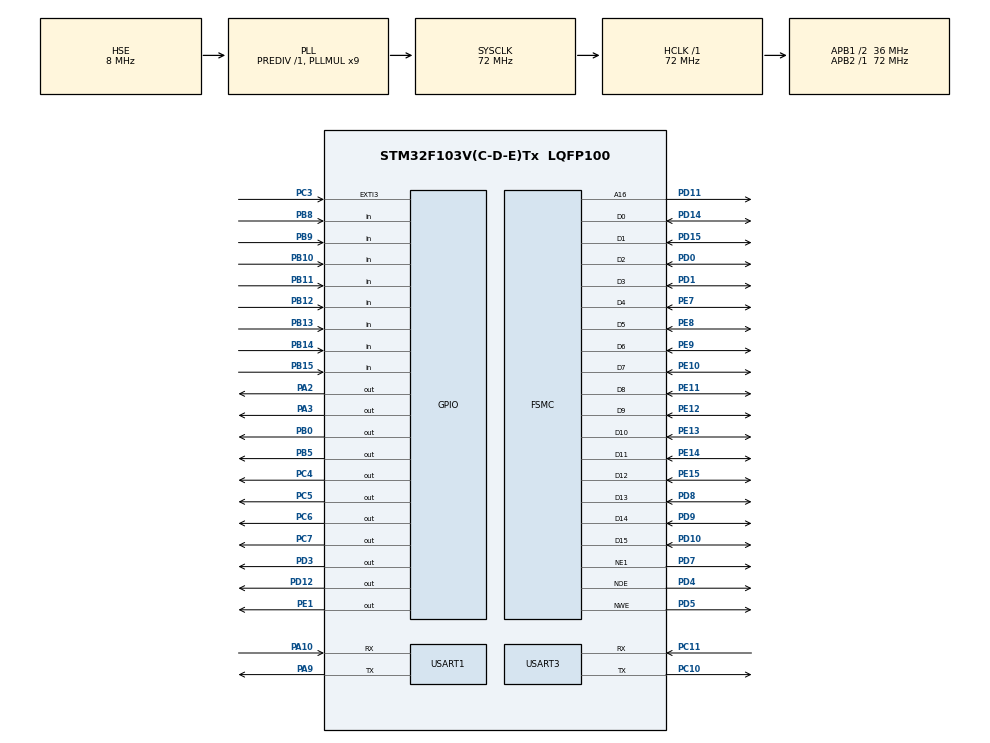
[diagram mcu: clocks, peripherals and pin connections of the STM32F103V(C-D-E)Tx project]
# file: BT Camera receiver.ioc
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Mcu.Family=STM32F1
Mcu.Name=STM32F103V(C-D-E)Tx
Mcu.Package=LQFP100
NVIC.EXTI3_IRQn=true\:0\:0\:false\:false\:true\:true\:true\:true
NVIC.PriorityGroup=NVIC_PRIORITYGROUP_4
OSC_IN.Mode=HSE-External-Oscillator
OSC_IN.Signal=RCC_OSC_IN
OSC_OUT.Mode=HSE-External-Oscillator
OSC_OUT.Signal=RCC_OSC_OUT
PA10.Mode=Asynchronous
PA10.Signal=USART1_RX
PA13.Mode=Serial_Wire
PA13.Signal=SYS_JTMS-SWDIO
PA14.Mode=Serial_Wire
PA14.Signal=SYS_JTCK-SWCLK
PA2.GPIO_Speed=GPIO_SPEED_FREQ_HIGH
PA2.Signal=GPIO_Output
PA3.GPIO_Speed=GPIO_SPEED_FREQ_HIGH
PA3.Signal=GPIO_Output
PA9.Mode=Asynchronous
PA9.Signal=USART1_TX
PB0.GPIO_Speed=GPIO_SPEED_FREQ_HIGH
PB0.Signal=GPIO_Output
PB10.Signal=GPIO_Input
PB11.Signal=GPIO_Input
PB12.Signal=GPIO_Input
PB13.Signal=GPIO_Input
PB14.Signal=GPIO_Input
PB15.Signal=GPIO_Input
PB5.GPIO_Speed=GPIO_SPEED_FREQ_HIGH
PB5.PinState=GPIO_PIN_SET
PB5.Signal=GPIO_Output
PB8.Signal=GPIO_Input
PB9.Signal=GPIO_Input
PC10.Mode=Asynchronous
PC10.Signal=USART3_TX
PC11.Mode=Asynchronous
PC11.Signal=USART3_RX
PC14-OSC32_IN.Mode=LSE-External-Oscillator
PC14-OSC32_IN.Signal=RCC_OSC32_IN
PC15-OSC32_OUT.Mode=LSE-External-Oscillator
PC15-OSC32_OUT.Signal=RCC_OSC32_OUT
PC3.GPIO_ModeDefaultEXTI=GPIO_MODE_IT_FALLING
PC3.Signal=GPXTI3
PC4.GPIO_Speed=GPIO_SPEED_FREQ_HIGH
PC4.Signal=GPIO_Output
PC5.GPIO_Speed=GPIO_SPEED_FREQ_HIGH
PC5.Signal=GPIO_Output
PC6.GPIO_ModeDefaultOutputPP=GPIO_MODE_OUTPUT_OD
PC6.GPIO_PuPd=GPIO_NOPULL
PC6.GPIO_Speed=GPIO_SPEED_FREQ_HIGH
PC6.Signal=GPIO_Output
PC7.GPIO_ModeDefaultOutputPP=GPIO_MODE_OUTPUT_OD
PC7.GPIO_Speed=GPIO_SPEED_FREQ_HIGH
PC7.Signal=GPIO_Output
PD0.Mode=16b-d1
PD0.Signal=FSMC_D2
PD1.Mode=16b-d1
PD1.Signal=FSMC_D3
PD10.Mode=16b-d1
PD10.Signal=FSMC_D15
PD11.Mode=A16_1
PD11.Signal=FSMC_A16
PD12.GPIO_Speed=GPIO_SPEED_FREQ_HIGH
PD12.PinState=GPIO_PIN_RESET
PD12.Signal=GPIO_Output
PD14.Mode=16b-d1
PD14.Signal=FSMC_D0
PD15.Mode=16b-d1
PD15.Signal=FSMC_D1
PD3.GPIO_Speed=GPIO_SPEED_FREQ_HIGH
PD3.Signal=GPIO_Output
PD4.Mode=Lcd1
PD4.Signal=FSMC_NOE
PD5.Mode=Lcd1
PD5.Signal=FSMC_NWE
PD7.Mode=NorPsramChipSelect1_1
PD7.Signal=FSMC_NE1
PD8.Mode=16b-d1
PD8.Signal=FSMC_D13
PD9.Mode=16b-d1
PD9.Signal=FSMC_D14
PE1.GPIO_Speed=GPIO_SPEED_FREQ_HIGH
PE1.PinState=GPIO_PIN_RESET
PE1.Signal=GPIO_Output
PE10.Mode=16b-d1
PE10.Signal=FSMC_D7
PE11.Mode=16b-d1
PE11.Signal=FSMC_D8
PE12.Mode=16b-d1
PE12.Signal=FSMC_D9
PE13.Mode=16b-d1
PE13.Signal=FSMC_D10
PE14.Mode=16b-d1
PE14.Signal=FSMC_D11
PE15.Mode=16b-d1
PE15.Signal=FSMC_D12
PE7.Mode=16b-d1
PE7.Signal=FSMC_D4
PE8.Mode=16b-d1
PE8.Signal=FSMC_D5
PE9.Mode=16b-d1
PE9.Signal=FSMC_D6
ProjectManager.HeapSize=0x200
ProjectManager.StackSize=0x400
ProjectManager.TargetToolchain=STM32CubeIDE
RCC.AHBFreq_Value=72000000
RCC.APB1CLKDivider=RCC_HCLK_DIV2
RCC.APB1Freq_Value=36000000
RCC.APB1TimFreq_Value=72000000
RCC.APB2Freq_Value=72000000
RCC.APB2TimFreq_Value=72000000
RCC.HCLKFreq_Value=72000000
RCC.PLLMUL=RCC_PLL_MUL9
RCC.PLLSourceVirtual=RCC_PLLSOURCE_HSE
RCC.SYSCLKFreq_VALUE=72000000
RCC.SYSCLKSource=RCC_SYSCLKSOURCE_PLLCLK
RCC.USBFreq_Value=72000000
USART1.VirtualMode=VM_ASYNC
USART3.VirtualMode=VM_ASYNC
board=custom

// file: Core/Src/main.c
/* USER CODE BEGIN Header */
/**
  ******************************************************************************
  * @file           : main.c
  * @brief          : Main program body
  ******************************************************************************
  * @attention
  *
  * <h2><center>&copy; Copyright (c) 2019 STMicroelectronics.
  * All rights reserved.</center></h2>
  *
  * This software component is licensed by ST under BSD 3-Clause license,
  * the "License"; You may not use this file except in compliance with the
  * License. You may obtain a copy of the License at:
  *                        opensource.org/licenses/BSD-3-Clause
  *
  ******************************************************************************
  */
/* USER CODE END Header */
#include "main.h"

/* USER CODE BEGIN Includes */
#include "lcd.h"
#include "bsp_ov7725.h"
#include "bsp_sccb.h"
#include <stdio.h>

/* USER CODE END Includes */

/* USER CODE BEGIN PD */
// Stream the image in blocks
#define PHOTO_WIDTH  320
#define PHOTO_HEIGHT 240
#define PHOTO_SIZE   (PHOTO_WIDTH * PHOTO_HEIGHT)
#define BLOCK_SIZE   512

/* USER CODE END PD */

UART_HandleTypeDef huart1;
UART_HandleTypeDef huart3;

SRAM_HandleTypeDef hsram1;

/* USER CODE BEGIN PV */
int16_t cal_value[2];   // Calibrated values (-3 to +3)
char buff[32];          // Buffer for string formatting

uint8_t Data[3];																				//BT

uint8_t joybut_pressed = 0;         //b9 pressed?

/* USER CODE END PV */

void SystemClock_Config(void);
static void MX_GPIO_Init(void);
static void MX_FSMC_Init(void);
static void MX_USART1_UART_Init(void);
static void MX_USART3_UART_Init(void);
/* USER CODE BEGIN PFP */
volatile uint8_t Ov7725_vsync ;
/* USER CODE END PFP */

/* USER CODE BEGIN 0 */
/*
void HAL_UARTEx_RxCpltCallback(UART_HandleTypeDef *huart, uint16_t Size)
{
  if(huart->Instance==USART3)
  {

	  HAL_GPIO_WritePin(GPIOB, GPIO_PIN_0, GPIO_PIN_RESET);    // Green LED on (active low)
	  HAL_GPIO_WritePin(GPIOB, GPIO_PIN_5, GPIO_PIN_SET);  // Red LED off (active low)

      sprintf(buff, "RX OK %d", Size);
      LCD_DrawString(10, 140, (uint8_t *)buff);
      sprintf(buff, "D0:%3d D1:%3d D2:%3d", Data[0], Data[1], Data[2]);
      LCD_DrawString(10, 160, (uint8_t *)buff);

      // Start next reception
      HAL_UARTEx_ReceiveToIdle_IT(&huart3, Data, 3);
  }
}
*/

void HAL_UART_ErrorCallback(UART_HandleTypeDef *huart)
{
  if(huart->Instance==USART3)
  {

      // Restart reception
      HAL_UARTEx_ReceiveToIdle_IT(&huart3, Data, 3);
  }
}

/* USER CODE END 0 */

int main(void)
{

  /* MCU Configuration--------------------------------------------------------*/

  /* Reset of all peripherals, Initializes the Flash interface and the Systick. */
  HAL_Init();

  /* Configure the system clock */
  SystemClock_Config();

  /* Initialize all configured peripherals */
  MX_GPIO_Init();
  MX_FSMC_Init();
  MX_USART1_UART_Init();
  MX_USART3_UART_Init();
  /* USER CODE BEGIN 2 */

	LCD_INIT();

  LCD_DrawString(100, 35, "X       Y");
  LCD_DrawString(10, 60, "Joystick:");

  HAL_GPIO_WritePin(GPIOB, GPIO_PIN_0, GPIO_PIN_SET);
  HAL_GPIO_WritePin(GPIOB, GPIO_PIN_5, GPIO_PIN_RESET);

  /* USER CODE END 2 */

  /* Infinite loop */
  /* USER CODE BEGIN WHILE */

	while(Ov7725_Init() != SUCCESS);
	Ov7725_vsync = 0;

  while (1)
  {

    /* USER CODE END WHILE */

    /* USER CODE BEGIN 3 */

  // Simple polling receive
  if (HAL_UART_Receive(&huart3, Data, 3, 100) == HAL_OK)
  {
      // Successfully received data
      sprintf(buff, "RX OK");
      LCD_DrawString(10, 140, (uint8_t *)buff);
      sprintf(buff, "D0:%3d D1:%3d D2:%3d", Data[0], Data[1], Data[2]);
      LCD_DrawString(10, 160, (uint8_t *)buff);

	  HAL_GPIO_WritePin(GPIOB, GPIO_PIN_0, GPIO_PIN_RESET);    // Green LED on (active low)
	  HAL_GPIO_WritePin(GPIOB, GPIO_PIN_5, GPIO_PIN_SET);  // Red LED off (active low)

  }

  // Default: not pressed
  joybut_pressed = 0;

  // Decode Data[0]
  switch (Data[0]) {
      case 35: cal_value[0] = -5; joybut_pressed = 1; break;
      case 34: cal_value[0] = -4; joybut_pressed = 1; break;
      case 33: cal_value[0] = -3; joybut_pressed = 1; break;
      case 32: cal_value[0] = -2; joybut_pressed = 1; break;
      case 31: cal_value[0] = -1; joybut_pressed = 1; break;
      case 20: cal_value[0] = 0;  joybut_pressed = 1; break;
      case 21: cal_value[0] = 1;  joybut_pressed = 1; break;
      case 22: cal_value[0] = 2;  joybut_pressed = 1; break;
      case 23: cal_value[0] = 3;  joybut_pressed = 1; break;
      case 24: cal_value[0] = 4;  joybut_pressed = 1; break;
      case 25: cal_value[0] = 5;  joybut_pressed = 1; break;
      case 15: cal_value[0] = -5; joybut_pressed = 0; break;
      case 14: cal_value[0] = -4; joybut_pressed = 0; break;
      case 13: cal_value[0] = -3; joybut_pressed = 0; break;
      case 12: cal_value[0] = -2; joybut_pressed = 0; break;
      case 11: cal_value[0] = -1; joybut_pressed = 0; break;
      case 0:  cal_value[0] = 0;  joybut_pressed = 0; break;
      case 1:  cal_value[0] = 1;  joybut_pressed = 0; break;
      case 2:  cal_value[0] = 2;  joybut_pressed = 0; break;
      case 3:  cal_value[0] = 3;  joybut_pressed = 0; break;
      case 4:  cal_value[0] = 4;  joybut_pressed = 0; break;
      case 5:  cal_value[0] = 5;  joybut_pressed = 0; break;
      default: cal_value[0] = 0;  joybut_pressed = 0; break;
  }

  // Decode Data[1]
  switch (Data[1]) {
      case 35: cal_value[1] = -5; joybut_pressed = 1; break;
      case 34: cal_value[1] = -4; joybut_pressed = 1; break;
      case 33: cal_value[1] = -3; joybut_pressed = 1; break;
      case 32: cal_value[1] = -2; joybut_pressed = 1; break;
      case 31: cal_value[1] = -1; joybut_pressed = 1; break;
      case 20: cal_value[1] = 0;  joybut_pressed = 1; break;
      case 21: cal_value[1] = 1;  joybut_pressed = 1; break;
      case 22: cal_value[1] = 2;  joybut_pressed = 1; break;
      case 23: cal_value[1] = 3;  joybut_pressed = 1; break;
      case 24: cal_value[1] = 4;  joybut_pressed = 1; break;
      case 25: cal_value[1] = 5;  joybut_pressed = 1; break;
      case 15: cal_value[1] = -5; joybut_pressed = 0; break;
      case 14: cal_value[1] = -4; joybut_pressed = 0; break;
      case 13: cal_value[1] = -3; joybut_pressed = 0; break;
      case 12: cal_value[1] = -2; joybut_pressed = 0; break;
      case 11: cal_value[1] = -1; joybut_pressed = 0; break;
      case 0:  cal_value[1] = 0;  joybut_pressed = 0; break;
      case 1:  cal_value[1] = 1;  joybut_pressed = 0; break;
      case 2:  cal_value[1] = 2;  joybut_pressed = 0; break;
      case 3:  cal_value[1] = 3;  joybut_pressed = 0; break;
      case 4:  cal_value[1] = 4;  joybut_pressed = 0; break;
      case 5:  cal_value[1] = 5;  joybut_pressed = 0; break;
      default: cal_value[1] = 0;  joybut_pressed = 0; break;
  }

  // Display calibrated values
  sprintf(buff, "%3d", cal_value[0]);
  LCD_DrawString(100, 60, (uint8_t *)buff);

  sprintf(buff, "%3d", cal_value[1]);
  LCD_DrawString(160, 60, (uint8_t *)buff);

  sprintf(buff, "B:%3d", Data[2]);
  LCD_DrawString(20, 120, (uint8_t *)buff);

  sprintf(buff, "joybut:%3d", joybut_pressed);
  LCD_DrawString(20, 90, (uint8_t *)buff);

  HAL_Delay(50);

  if(Data[2] == 3){
    if (Ov7725_vsync == 2)
	{
	  FIFO_PREPARE;
	  ImagDisp();
	  Ov7725_vsync = 0;
	}
  }

  //Handle_USART1_Request();                                                                  // to f4
    send_normal_data();
    HAL_Delay(100); // Send normal data every 100ms (adjust as needed)

    if (Data[2] == 3)
    {
      send_photo();
      HAL_Delay(100);
    }

  }

  /* USER CODE END 3 */
}

void SystemClock_Config(void)
{
  RCC_OscInitTypeDef RCC_OscInitStruct = {0};
  RCC_ClkInitTypeDef RCC_ClkInitStruct = {0};

  /** Initializes the RCC Oscillators according to the specified parameters
  * in the RCC_OscInitTypeDef structure.
  */
  RCC_OscInitStruct.OscillatorType = RCC_OSCILLATORTYPE_HSE;
  RCC_OscInitStruct.HSEState = RCC_HSE_ON;
  RCC_OscInitStruct.HSEPredivValue = RCC_HSE_PREDIV_DIV1;
  RCC_OscInitStruct.HSIState = RCC_HSI_ON;
  RCC_OscInitStruct.PLL.PLLState = RCC_PLL_ON;
  RCC_OscInitStruct.PLL.PLLSource = RCC_PLLSOURCE_HSE;
  RCC_OscInitStruct.PLL.PLLMUL = RCC_PLL_MUL9;
  if (HAL_RCC_OscConfig(&RCC_OscInitStruct) != HAL_OK)
  {
    Error_Handler();
  }

  /** Initializes the CPU, AHB and APB buses clocks
  */
  RCC_ClkInitStruct.ClockType = RCC_CLOCKTYPE_HCLK|RCC_CLOCKTYPE_SYSCLK
                              |RCC_CLOCKTYPE_PCLK1|RCC_CLOCKTYPE_PCLK2;
  RCC_ClkInitStruct.SYSCLKSource = RCC_SYSCLKSOURCE_PLLCLK;
  RCC_ClkInitStruct.AHBCLKDivider = RCC_SYSCLK_DIV1;
  RCC_ClkInitStruct.APB1CLKDivider = RCC_HCLK_DIV2;
  RCC_ClkInitStruct.APB2CLKDivider = RCC_HCLK_DIV1;

  if (HAL_RCC_ClockConfig(&RCC_ClkInitStruct, FLASH_LATENCY_2) != HAL_OK)
  {
    Error_Handler();
  }
}

static void MX_USART1_UART_Init(void)
{

  huart1.Instance = USART1;
  huart1.Init.BaudRate = 115200;
  huart1.Init.WordLength = UART_WORDLENGTH_8B;
  huart1.Init.StopBits = UART_STOPBITS_1;
  huart1.Init.Parity = UART_PARITY_NONE;
  huart1.Init.Mode = UART_MODE_TX_RX;
  huart1.Init.HwFlowCtl = UART_HWCONTROL_NONE;
  huart1.Init.OverSampling = UART_OVERSAMPLING_16;
  if (HAL_UART_Init(&huart1) != HAL_OK)
  {
    Error_Handler();
  }

}

static void MX_USART3_UART_Init(void)
{

  huart3.Instance = USART3;
  huart3.Init.BaudRate = 115200;
  huart3.Init.WordLength = UART_WORDLENGTH_8B;
  huart3.Init.StopBits = UART_STOPBITS_1;
  huart3.Init.Parity = UART_PARITY_NONE;
  huart3.Init.Mode = UART_MODE_TX_RX;
  huart3.Init.HwFlowCtl = UART_HWCONTROL_NONE;
  huart3.Init.OverSampling = UART_OVERSAMPLING_16;
  if (HAL_UART_Init(&huart3) != HAL_OK)
  {
    Error_Handler();
  }

}

static void MX_GPIO_Init(void)
{
  GPIO_InitTypeDef GPIO_InitStruct = {0};

  /* GPIO Ports Clock Enable */
  __HAL_RCC_GPIOC_CLK_ENABLE();
  __HAL_RCC_GPIOA_CLK_ENABLE();
  __HAL_RCC_GPIOB_CLK_ENABLE();
  __HAL_RCC_GPIOE_CLK_ENABLE();
  __HAL_RCC_GPIOD_CLK_ENABLE();

  /*Configure GPIO pin Output Level */
  HAL_GPIO_WritePin(GPIOA, GPIO_PIN_2|GPIO_PIN_3, GPIO_PIN_RESET);

  /*Configure GPIO pin Output Level */
  HAL_GPIO_WritePin(GPIOC, GPIO_PIN_4|GPIO_PIN_5|GPIO_PIN_6|GPIO_PIN_7, GPIO_PIN_RESET);

  /*Configure GPIO pin Output Level */
  HAL_GPIO_WritePin(GPIOB, GPIO_PIN_0, GPIO_PIN_RESET);

  /*Configure GPIO pin Output Level */
  HAL_GPIO_WritePin(GPIOD, GPIO_PIN_12|GPIO_PIN_3, GPIO_PIN_RESET);

  /*Configure GPIO pin Output Level */
  HAL_GPIO_WritePin(GPIOB, GPIO_PIN_5, GPIO_PIN_SET);

  /*Configure GPIO pin Output Level */
  HAL_GPIO_WritePin(GPIOE, GPIO_PIN_1, GPIO_PIN_RESET);

  /*Configure GPIO pin : PC3 */
  GPIO_InitStruct.Pin = GPIO_PIN_3;
  GPIO_InitStruct.Mode = GPIO_MODE_IT_FALLING;
  GPIO_InitStruct.Pull = GPIO_NOPULL;
  HAL_GPIO_Init(GPIOC, &GPIO_InitStruct);

  /*Configure GPIO pins : PA2 PA3 */
  GPIO_InitStruct.Pin = GPIO_PIN_2|GPIO_PIN_3;
  GPIO_InitStruct.Mode = GPIO_MODE_OUTPUT_PP;
  GPIO_InitStruct.Pull = GPIO_NOPULL;
  GPIO_InitStruct.Speed = GPIO_SPEED_FREQ_HIGH;
  HAL_GPIO_Init(GPIOA, &GPIO_InitStruct);

  /*Configure GPIO pins : PC4 PC5 */
  GPIO_InitStruct.Pin = GPIO_PIN_4|GPIO_PIN_5;
  GPIO_InitStruct.Mode = GPIO_MODE_OUTPUT_PP;
  GPIO_InitStruct.Pull = GPIO_NOPULL;
  GPIO_InitStruct.Speed = GPIO_SPEED_FREQ_HIGH;
  HAL_GPIO_Init(GPIOC, &GPIO_InitStruct);

  /*Configure GPIO pins : PB0 PB5 */
  GPIO_InitStruct.Pin = GPIO_PIN_0|GPIO_PIN_5;
  GPIO_InitStruct.Mode = GPIO_MODE_OUTPUT_PP;
  GPIO_InitStruct.Pull = GPIO_NOPULL;
  GPIO_InitStruct.Speed = GPIO_SPEED_FREQ_HIGH;
  HAL_GPIO_Init(GPIOB, &GPIO_InitStruct);

  /*Configure GPIO pins : PB10 PB11 PB12 PB13
                           PB14 PB15 PB8 PB9 */
  GPIO_InitStruct.Pin = GPIO_PIN_10|GPIO_PIN_11|GPIO_PIN_12|GPIO_PIN_13
                          |GPIO_PIN_14|GPIO_PIN_15|GPIO_PIN_8|GPIO_PIN_9;
  GPIO_InitStruct.Mode = GPIO_MODE_INPUT;
  GPIO_InitStruct.Pull = GPIO_NOPULL;
  HAL_GPIO_Init(GPIOB, &GPIO_InitStruct);

  /*Configure GPIO pins : PD12 PD3 */
  GPIO_InitStruct.Pin = GPIO_PIN_12|GPIO_PIN_3;
  GPIO_InitStruct.Mode = GPIO_MODE_OUTPUT_PP;
  GPIO_InitStruct.Pull = GPIO_NOPULL;
  GPIO_InitStruct.Speed = GPIO_SPEED_FREQ_HIGH;
  HAL_GPIO_Init(GPIOD, &GPIO_InitStruct);

  /*Configure GPIO pins : PC6 PC7 */
  GPIO_InitStruct.Pin = GPIO_PIN_6|GPIO_PIN_7;
  GPIO_InitStruct.Mode = GPIO_MODE_OUTPUT_OD;
  GPIO_InitStruct.Pull = GPIO_NOPULL;
  GPIO_InitStruct.Speed = GPIO_SPEED_FREQ_HIGH;
  HAL_GPIO_Init(GPIOC, &GPIO_InitStruct);

  /*Configure GPIO pin : PE1 */
  GPIO_InitStruct.Pin = GPIO_PIN_1;
  GPIO_InitStruct.Mode = GPIO_MODE_OUTPUT_PP;
  GPIO_InitStruct.Pull = GPIO_NOPULL;
  GPIO_InitStruct.Speed = GPIO_SPEED_FREQ_HIGH;
  HAL_GPIO_Init(GPIOE, &GPIO_InitStruct);

  /* EXTI interrupt init*/
  HAL_NVIC_SetPriority(EXTI3_IRQn, 0, 0);
  HAL_NVIC_EnableIRQ(EXTI3_IRQn);

}

/* FSMC initialization function */
static void MX_FSMC_Init(void)
{

  FSMC_NORSRAM_TimingTypeDef Timing = {0};

  /** Perform the SRAM1 memory initialization sequence
  */
  hsram1.Instance = FSMC_NORSRAM_DEVICE;
  hsram1.Extended = FSMC_NORSRAM_EXTENDED_DEVICE;
  /* hsram1.Init */
  hsram1.Init.NSBank = FSMC_NORSRAM_BANK1;
  hsram1.Init.DataAddressMux = FSMC_DATA_ADDRESS_MUX_DISABLE;
  hsram1.Init.MemoryType = FSMC_MEMORY_TYPE_SRAM;
  hsram1.Init.MemoryDataWidth = FSMC_NORSRAM_MEM_BUS_WIDTH_16;
  hsram1.Init.BurstAccessMode = FSMC_BURST_ACCESS_MODE_DISABLE;
  hsram1.Init.WaitSignalPolarity = FSMC_WAIT_SIGNAL_POLARITY_LOW;
  hsram1.Init.WrapMode = FSMC_WRAP_MODE_DISABLE;
  hsram1.Init.WaitSignalActive = FSMC_WAIT_TIMING_BEFORE_WS;
  hsram1.Init.WriteOperation = FSMC_WRITE_OPERATION_ENABLE;
  hsram1.Init.WaitSignal = FSMC_WAIT_SIGNAL_DISABLE;
  hsram1.Init.ExtendedMode = FSMC_EXTENDED_MODE_DISABLE;
  hsram1.Init.AsynchronousWait = FSMC_ASYNCHRONOUS_WAIT_DISABLE;
  hsram1.Init.WriteBurst = FSMC_WRITE_BURST_DISABLE;
  /* Timing */
  Timing.AddressSetupTime = 15;
  Timing.AddressHoldTime = 15;
  Timing.DataSetupTime = 255;
  Timing.BusTurnAroundDuration = 15;
  Timing.CLKDivision = 16;
  Timing.DataLatency = 17;
  Timing.AccessMode = FSMC_ACCESS_MODE_A;
  /* ExtTiming */

  if (HAL_SRAM_Init(&hsram1, &Timing, NULL) != HAL_OK)
  {
    Error_Handler( );
  }

  /** Disconnect NADV
  */

  __HAL_AFIO_FSMCNADV_DISCONNECTED();

}

/* USER CODE BEGIN 4 */

                                                                                                               //to F4
/*
void Handle_USART1_Request(void)
{
  uint8_t request;
  if (HAL_UART_Receive(&huart1, &request, 1, 10) == HAL_OK)
  {
    if (request == 0xA5) // Normal data request
    {
      uint8_t tx_buf[5];
      tx_buf[0] = (uint8_t)cal_value[0];
      tx_buf[1] = (uint8_t)cal_value[1];
      tx_buf[2] = Data[2];
      tx_buf[3] = (uint8_t)joybut_pressed;
      tx_buf[4] = 0x5A; // stop bit
      HAL_UART_Transmit(&huart1, tx_buf, 5, 100);
    }
    else if (request == 0xB5) // Photo request
    {
      if (Data[2] == 3)
      {
        // Send a header first
        uint8_t header[2] = {0xB5, 0xAA};
        HAL_UART_Transmit(&huart1, header, 2, 100);

        FIFO_PREPARE;

        uint8_t block[BLOCK_SIZE];
        uint32_t sent = 0;

        while (sent < PHOTO_SIZE) {
          uint32_t to_send = ((PHOTO_SIZE - sent) > BLOCK_SIZE) ? BLOCK_SIZE : (PHOTO_SIZE - sent);
          for (uint32_t i = 0; i < to_send; i++) {
            uint16_t Camera_Data;
            READ_FIFO_PIXEL(Camera_Data);
            block[i] = (uint8_t)(Camera_Data & 0xFF);
          }
          HAL_UART_Transmit(&huart1, block, to_send, 1000);
          sent += to_send;
        }

        // Send a footer
        uint8_t footer[2] = {0xAA, 0xB5};
        HAL_UART_Transmit(&huart1, footer, 2, 100);
      }
    }
  }
}
*/

void send_normal_data(void)
{
    uint8_t tx_buf[4];
    tx_buf[0] = (uint8_t)cal_value[0];
    tx_buf[1] = (uint8_t)cal_value[1];
    tx_buf[2] = Data[2];
    tx_buf[3] = (uint8_t)joybut_pressed;
    //tx_buf[4] = 0x5A; // stop ender
    HAL_UART_Transmit(&huart1, tx_buf, 4, 100);		//5
}

void send_photo(void)
{
    // Send a header first
    uint8_t header[2] = {0xB5, 0xAA};
    HAL_UART_Transmit(&huart1, header, 2, 100);

    FIFO_PREPARE;

    uint8_t block[BLOCK_SIZE];
    uint32_t sent = 0;

    while (sent < PHOTO_SIZE) {
        uint32_t to_send = ((PHOTO_SIZE - sent) > BLOCK_SIZE) ? BLOCK_SIZE : (PHOTO_SIZE - sent);
        for (uint32_t i = 0; i < to_send; i++) {
            uint16_t Camera_Data;
            READ_FIFO_PIXEL(Camera_Data);
            block[i] = (uint8_t)(Camera_Data & 0xFF);
        }
        HAL_UART_Transmit(&huart1, block, to_send, 1000);
        sent += to_send;
    }

    // Send a footer
    uint8_t footer[2] = {0xAA, 0xB5};
    HAL_UART_Transmit(&huart1, footer, 2, 100);
}

/* USER CODE END 4 */

void Error_Handler(void)
{
}
